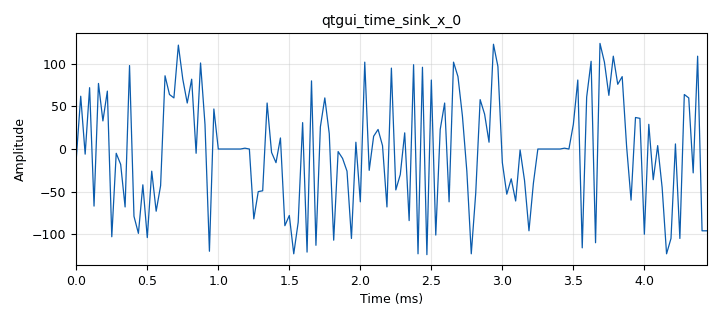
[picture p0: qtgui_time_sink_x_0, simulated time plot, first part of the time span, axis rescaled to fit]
<?xml version='1.0' encoding='utf-8'?>
<?grc format='1' created='3.7.9'?>
<flow_graph>
<block>
<key>options</key>
<param><key>id</key><value>packetizer</value></param>
<param><key>category</key><value>Custom</value></param>
<param><key>generate_options</key><value>qt_gui</value></param>
</block>
<block>
<key>variable</key>
<param><key>id</key><value>bb_filter</value></param>
<param><key>value</key><value>firdes.root_raised_cosine(sps, sps, 1, eb, 101)</value></param>
</block>
<block>
<key>variable_constellation</key>
<param><key>id</key><value>constel</value></param>
<param><key>const_points</key><value>[1,- 1]</value></param>
<param><key>dims</key><value>1</value></param>
<param><key>rot_sym</key><value>2</value></param>
<param><key>precision</key><value>8</value></param>
<param><key>sym_map</key><value>[0,1]</value></param>
</block>
<block>
<key>variable_constellation</key>
<param><key>id</key><value>constel</value></param>
<param><key>const_points</key><value>digital.psk_4()[0]</value></param>
<param><key>dims</key><value>1</value></param>
<param><key>_enabled</key><value>0</value></param>
<param><key>rot_sym</key><value>4</value></param>
<param><key>soft_dec_lut</key><value>'auto'</value></param>
<param><key>precision</key><value>8</value></param>
<param><key>sym_map</key><value>digital.psk_4()[1]</value></param>
</block>
<block>
<key>variable</key>
<param><key>id</key><value>eb</value></param>
<param><key>value</key><value>0.35</value></param>
</block>
<block>
<key>variable_qtgui_range</key>
<param><key>id</key><value>freq_offset</value></param>
<param><key>value</key><value>0</value></param>
<param><key>gui_hint</key><value>4,0,1,1</value></param>
<param><key>label</key><value>Frequency Offset</value></param>
<param><key>orient</key><value>Qt.Horizontal</value></param>
<param><key>start</key><value>-0.001</value></param>
<param><key>step</key><value>0.00002</value></param>
<param><key>stop</key><value>0.001</value></param>
<param><key>widget</key><value>slider</value></param>
</block>
<block>
<key>variable</key>
<param><key>id</key><value>gap</value></param>
<param><key>value</key><value>20000</value></param>
</block>
<block>
<key>variable</key>
<param><key>id</key><value>header_formatter</value></param>
<param><key>value</key><value>digital.packet_header_default(8, "packet_len", "packet_num", 1)</value></param>
</block>
<block>
<key>variable</key>
<param><key>id</key><value>matched_filter</value></param>
<param><key>value</key><value>firdes.root_raised_cosine(nfilts, nfilts, 1, eb, int(11*sps*nfilts))</value></param>
</block>
<block>
<key>variable</key>
<param><key>id</key><value>nfilts</value></param>
<param><key>value</key><value>32</value></param>
</block>
<block>
<key>variable_qtgui_range</key>
<param><key>id</key><value>noise</value></param>
<param><key>value</key><value>0</value></param>
<param><key>gui_hint</key><value>3,0,1,1</value></param>
<param><key>label</key><value>Noise</value></param>
<param><key>orient</key><value>Qt.Horizontal</value></param>
<param><key>start</key><value>0</value></param>
<param><key>step</key><value>0.005</value></param>
<param><key>stop</key><value>1</value></param>
<param><key>widget</key><value>slider</value></param>
</block>
<block>
<key>variable</key>
<param><key>id</key><value>payload_size</value></param>
<param><key>value</key><value>64</value></param>
</block>
<block>
<key>variable_qtgui_range</key>
<param><key>id</key><value>phase</value></param>
<param><key>value</key><value>0</value></param>
<param><key>gui_hint</key><value>3,1,1,1</value></param>
<param><key>label</key><value>Phase offset</value></param>
<param><key>orient</key><value>Qt.Horizontal</value></param>
<param><key>start</key><value>-2*scipy.pi</value></param>
<param><key>step</key><value>0.1</value></param>
<param><key>stop</key><value>2*scipy.pi</value></param>
<param><key>widget</key><value>slider</value></param>
</block>
<block>
<key>variable</key>
<param><key>id</key><value>preamble</value></param>
<param><key>value</key><value>[1,-1,1,-1,1,1,-1,-1,1,1,-1,1,1,1,-1,1,1,-1,1,-1,-1,1,-1,-1,1,1,1,-1,-1,-1,1,-1,1,1,1,1,-1,-1,1,-1,1,-1,-1,-1,1,1,-1,-1,-1,-1,1,-1,-1,-1,-1,-1,1,1,1,1,1,1,-1,-1]</value></param>
</block>
<block>
<key>variable</key>
<param><key>id</key><value>rrc_taps</value></param>
<param><key>value</key><value>firdes.root_raised_cosine(nfilts, nfilts, 1.0/float(sps), eb, 5*sps*nfilts)</value></param>
</block>
<block>
<key>variable</key>
<param><key>id</key><value>samp_rate</value></param>
<param><key>value</key><value>32000</value></param>
</block>
<block>
<key>variable</key>
<param><key>id</key><value>sps</value></param>
<param><key>value</key><value>4</value></param>
</block>
<block>
<key>variable_qtgui_range</key>
<param><key>id</key><value>time_offset</value></param>
<param><key>value</key><value>1</value></param>
<param><key>gui_hint</key><value>4,1,1,1</value></param>
<param><key>label</key><value>Timing Offset</value></param>
<param><key>orient</key><value>Qt.Horizontal</value></param>
<param><key>start</key><value>0.995</value></param>
<param><key>step</key><value>0.00001</value></param>
<param><key>stop</key><value>1.005</value></param>
<param><key>widget</key><value>slider</value></param>
</block>
<block>
<key>analog_random_source_x</key>
<param><key>id</key><value>analog_random_source_x_0</value></param>
<param><key>max</key><value>256</value></param>
<param><key>min</key><value>0</value></param>
<param><key>num_samps</key><value>1000</value></param>
<param><key>type</key><value>byte</value></param>
<param><key>repeat</key><value>True</value></param>
</block>
<block>
<key>blocks_char_to_float</key>
<param><key>id</key><value>blocks_char_to_float_0</value></param>
<param><key>scale</key><value>1</value></param>
</block>
<block>
<key>blocks_stream_to_tagged_stream</key>
<param><key>id</key><value>blocks_stream_to_tagged_stream_0</value></param>
<param><key>len_tag_key</key><value>"packet_len"</value></param>
<param><key>packet_len</key><value>64</value></param>
<param><key>type</key><value>byte</value></param>
</block>
<block>
<key>blocks_tagged_stream_mux</key>
<param><key>id</key><value>blocks_tagged_stream_mux_0</value></param>
<param><key>type</key><value>byte</value></param>
<param><key>lengthtagname</key><value>"packet_len"</value></param>
<param><key>ninputs</key><value>2</value></param>
</block>
<block>
<key>digital_packet_headergenerator_bb</key>
<param><key>id</key><value>digital_packet_headergenerator_bb_0</value></param>
<param><key>header_formatter</key><value>header_formatter</value></param>
<param><key>len_tag_key</key><value>"packet_len"</value></param>
</block>
<block>
<key>import</key>
<param><key>id</key><value>import_0</value></param>
<param><key>import</key><value>import scipy</value></param>
</block>
<block>
<key>qtgui_time_sink_x</key>
<param><key>id</key><value>qtgui_time_sink_x_0</value></param>
<param><key>color1</key><value>"blue"</value></param>
<param><key>label1</key><value></value></param>
<param><key>size</key><value>1024</value></param>
<param><key>srate</key><value>samp_rate</value></param>
<param><key>type</key><value>float</value></param>
</block>
<connection><source_block_id>analog_random_source_x_0</source_block_id><sink_block_id>blocks_stream_to_tagged_stream_0</sink_block_id><source_key>0</source_key><sink_key>0</sink_key></connection>
<connection><source_block_id>blocks_char_to_float_0</source_block_id><sink_block_id>qtgui_time_sink_x_0</sink_block_id><source_key>0</source_key><sink_key>0</sink_key></connection>
<connection><source_block_id>blocks_stream_to_tagged_stream_0</source_block_id><sink_block_id>blocks_tagged_stream_mux_0</sink_block_id><source_key>0</source_key><sink_key>1</sink_key></connection>
<connection><source_block_id>blocks_stream_to_tagged_stream_0</source_block_id><sink_block_id>digital_packet_headergenerator_bb_0</sink_block_id><source_key>0</source_key><sink_key>0</sink_key></connection>
<connection><source_block_id>blocks_tagged_stream_mux_0</source_block_id><sink_block_id>blocks_char_to_float_0</sink_block_id><source_key>0</source_key><sink_key>0</sink_key></connection>
<connection><source_block_id>digital_packet_headergenerator_bb_0</source_block_id><sink_block_id>blocks_tagged_stream_mux_0</sink_block_id><source_key>0</source_key><sink_key>0</sink_key></connection>
</flow_graph>
